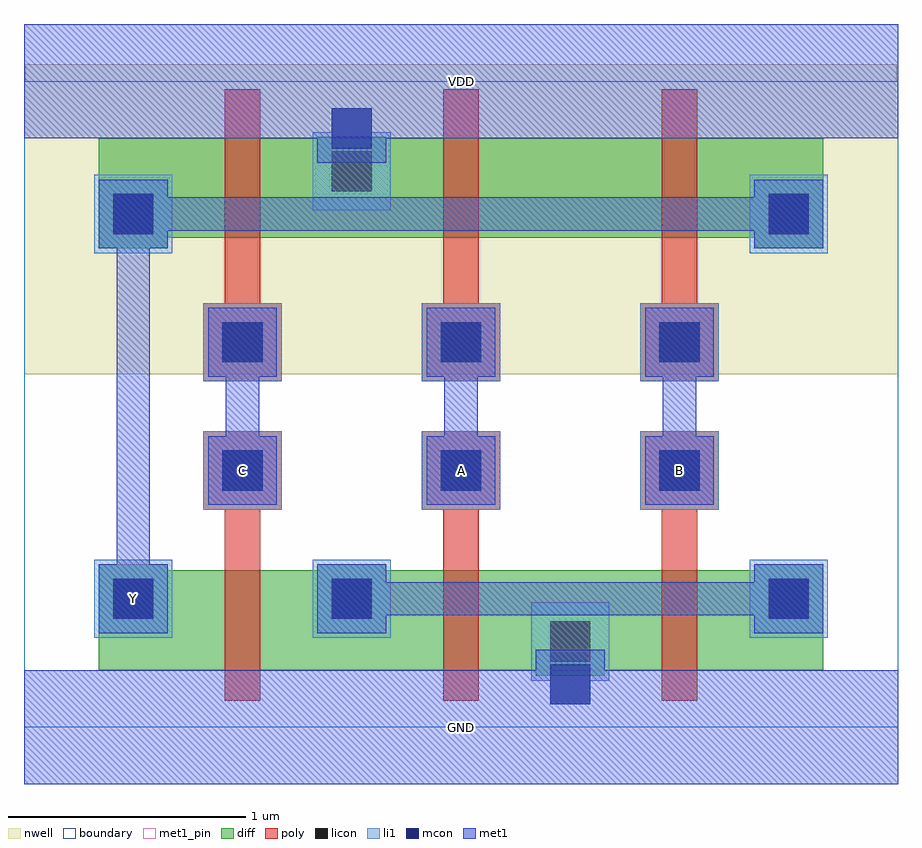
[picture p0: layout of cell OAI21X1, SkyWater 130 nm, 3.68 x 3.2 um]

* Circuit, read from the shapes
.subckt OAI21X1 A B C GND VDD Y
XM1 n1 C Y VSUBS sky130_fd_pr__nfet_01v8 w=0.42 l=0.15
XM2 GND A n1 VSUBS sky130_fd_pr__nfet_01v8 w=0.42 l=0.15
XM3 n1 B GND VSUBS sky130_fd_pr__nfet_01v8 w=0.42 l=0.15
XM4 VDD C Y n2 sky130_fd_pr__pfet_01v8 w=0.42 l=0.15
XM5 n3 A VDD n2 sky130_fd_pr__pfet_01v8 w=0.42 l=0.15
XM6 Y B n3 n2 sky130_fd_pr__pfet_01v8 w=0.42 l=0.15
.ends

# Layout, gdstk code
import gdstk
lib = gdstk.Library(unit=1e-6, precision=1e-09)
def R(c, l, rs):  # rectangles x0, y0, x1, y1
    for r in rs: c.add(gdstk.rectangle(r[:2], r[2:], *l))
def A(c, l, x, y, w, h, nx, ny, dx, dy):  # array of equal rectangles
    R(c, l, [(x+i*dx, y+j*dy, x+i*dx+w, y+j*dy+h) for i in range(nx) for j in range(ny)])
def P(c, l, *ps):  # polygons
    for p in ps: c.add(gdstk.Polygon(p, *l))
nwell = (64, 20)
diff = (65, 20)
poly = (66, 20)
licon = (66, 44)
li1 = (67, 20)
mcon = (67, 44)
met1_pin = (68, 16)
met1 = (68, 20)
boundary = (235, 4)

oai21x1 = lib.new_cell('OAI21X1')
P(oai21x1, nwell, [(0,1.485),(0,2.72),(0.005,2.72),(0.005,2.79),(3.675,2.79),(3.675,2.72),(3.68,2.72),(3.68,1.485)])
P(oai21x1, diff, [(2.155,0.215),(2.155,0.24),(0.315,0.24),(0.315,0.685),(0.605,0.685),(0.605,0.66),(1.235,0.66),(1.235,0.685),(1.525,0.685),(1.525,0.66),(3.075,0.66),(3.075,0.685),(3.365,0.685),(3.365,0.24),(2.445,0.24),(2.445,0.215)],
  [(0.315,2.015),(0.315,2.48),(1.235,2.48),(1.235,2.485),(1.525,2.485),(1.525,2.48),(3.365,2.48),(3.365,2.015),(3.075,2.015),(3.075,2.06),(0.605,2.06),(0.605,2.015)])
P(oai21x1, poly, [(0.845,0.11),(0.845,0.915),(0.755,0.915),(0.755,1.245),(1.085,1.245),(1.085,0.915),(0.995,0.915),(0.995,0.11)],
  [(1.765,0.11),(1.765,0.915),(1.675,0.915),(1.675,1.245),(2.005,1.245),(2.005,0.915),(1.915,0.915),(1.915,0.11)],
  [(2.685,0.11),(2.685,0.915),(2.595,0.915),(2.595,1.245),(2.925,1.245),(2.925,0.915),(2.835,0.915),(2.835,0.11)],
  [(0.755,1.455),(0.755,1.785),(0.845,1.785),(0.845,2.685),(0.995,2.685),(0.995,1.785),(1.085,1.785),(1.085,1.455)],
  [(1.675,1.455),(1.675,1.785),(1.765,1.785),(1.765,2.685),(1.915,2.685),(1.915,1.785),(2.005,1.785),(2.005,1.455)],
  [(2.595,1.455),(2.595,1.785),(2.685,1.785),(2.685,2.685),(2.835,2.685),(2.835,1.785),(2.925,1.785),(2.925,1.455)])
A(oai21x1, licon, 0.835, 0.995, 0.17, 0.17, 3, 2, 0.92, 0.54)
R(oai21x1, licon, [(2.215,0.275,2.385,0.445), (0.375,0.455,0.545,0.625), (1.295,0.455,1.465,0.625), (3.135,0.455,3.305,0.625), (0.375,2.075,0.545,2.245), (3.135,2.075,3.305,2.245), (1.295,2.255,1.465,2.425)])
A(oai21x1, li1, 0.755, 0.915, 0.33, 0.33, 3, 2, 0.92, 0.54)
R(oai21x1, li1, [(0.295,0.375,0.625,0.705), (1.215,0.375,1.545,0.705), (3.055,0.375,3.385,0.705), (0.295,1.995,0.625,2.325), (3.055,1.995,3.385,2.325)])
P(oai21x1, li1, [(2.215,0.095),(2.215,0.195),(2.135,0.195),(2.135,0.525),(2.465,0.525),(2.465,0.195),(2.385,0.195),(2.385,0.095)],
  [(1.215,2.175),(1.215,2.505),(1.295,2.505),(1.295,2.605),(1.465,2.605),(1.465,2.505),(1.545,2.505),(1.545,2.175)])
A(oai21x1, mcon, 0.835, 0.995, 0.17, 0.17, 3, 2, 0.92, 0.54)
R(oai21x1, mcon, [(2.215,0.095,2.385,0.265), (0.375,0.455,0.545,0.625), (1.295,0.455,1.465,0.625), (3.135,0.455,3.305,0.625), (0.375,2.075,0.545,2.245), (3.135,2.075,3.305,2.245), (1.295,2.435,1.465,2.605)])
R(oai21x1, met1_pin, [(0,-0.24,3.68,0.24), (0,2.48,3.68,2.96)])
P(oai21x1, met1_pin, [(0.315,0.395),(0.315,0.685),(0.39,0.685),(0.39,2.015),(0.315,2.015),(0.315,2.305),(0.605,2.305),(0.605,2.23),(3.075,2.23),(3.075,2.305),(3.365,2.305),(3.365,2.015),(3.075,2.015),(3.075,2.09),(0.605,2.09),(0.605,2.015),(0.53,2.015),(0.53,0.685),(0.605,0.685),(0.605,0.395)],
  [(0.775,0.935),(0.775,1.225),(0.85,1.225),(0.85,1.475),(0.775,1.475),(0.775,1.765),(1.065,1.765),(1.065,1.475),(0.99,1.475),(0.99,1.225),(1.065,1.225),(1.065,0.935)],
  [(2.615,0.935),(2.615,1.225),(2.69,1.225),(2.69,1.475),(2.615,1.475),(2.615,1.765),(2.905,1.765),(2.905,1.475),(2.83,1.475),(2.83,1.225),(2.905,1.225),(2.905,0.935)],
  [(1.695,0.935),(1.695,1.225),(1.77,1.225),(1.77,1.475),(1.695,1.475),(1.695,1.765),(1.985,1.765),(1.985,1.475),(1.91,1.475),(1.91,1.225),(1.985,1.225),(1.985,0.935)])
P(oai21x1, met1, [(0,-0.24),(0,0.24),(2.155,0.24),(2.155,0.325),(2.445,0.325),(2.445,0.24),(3.68,0.24),(3.68,-0.24)],
  [(1.235,0.395),(1.235,0.685),(1.525,0.685),(1.525,0.61),(3.075,0.61),(3.075,0.685),(3.365,0.685),(3.365,0.395),(3.075,0.395),(3.075,0.47),(1.525,0.47),(1.525,0.395)],
  [(0.775,0.935),(0.775,1.225),(0.85,1.225),(0.85,1.475),(0.775,1.475),(0.775,1.765),(1.065,1.765),(1.065,1.475),(0.99,1.475),(0.99,1.225),(1.065,1.225),(1.065,0.935)],
  [(1.695,0.935),(1.695,1.225),(1.77,1.225),(1.77,1.475),(1.695,1.475),(1.695,1.765),(1.985,1.765),(1.985,1.475),(1.91,1.475),(1.91,1.225),(1.985,1.225),(1.985,0.935)],
  [(2.615,0.935),(2.615,1.225),(2.69,1.225),(2.69,1.475),(2.615,1.475),(2.615,1.765),(2.905,1.765),(2.905,1.475),(2.83,1.475),(2.83,1.225),(2.905,1.225),(2.905,0.935)],
  [(0.315,0.395),(0.315,0.685),(0.39,0.685),(0.39,2.015),(0.315,2.015),(0.315,2.305),(0.605,2.305),(0.605,2.23),(3.075,2.23),(3.075,2.305),(3.365,2.305),(3.365,2.015),(3.075,2.015),(3.075,2.09),(0.605,2.09),(0.605,2.015),(0.53,2.015),(0.53,0.685),(0.605,0.685),(0.605,0.395)],
  [(1.235,2.375),(1.235,2.48),(0,2.48),(0,2.96),(3.68,2.96),(3.68,2.48),(1.525,2.48),(1.525,2.375)])
R(oai21x1, boundary, [(0,0,3.68,2.72)])
oai21x1.add(gdstk.Label('Y', (0.46,0.54), layer=68, texttype=5))
oai21x1.add(gdstk.Label('C', (0.92,1.08), layer=68, texttype=5))
oai21x1.add(gdstk.Label('B', (2.76,1.08), layer=68, texttype=5))
oai21x1.add(gdstk.Label('A', (1.84,1.08), layer=68, texttype=5))
oai21x1.add(gdstk.Label('GND', (1.84,0), layer=68, texttype=5))
oai21x1.add(gdstk.Label('VDD', (1.84,2.72), layer=68, texttype=5))

lib.write_gds('OAI21X1.gds')
